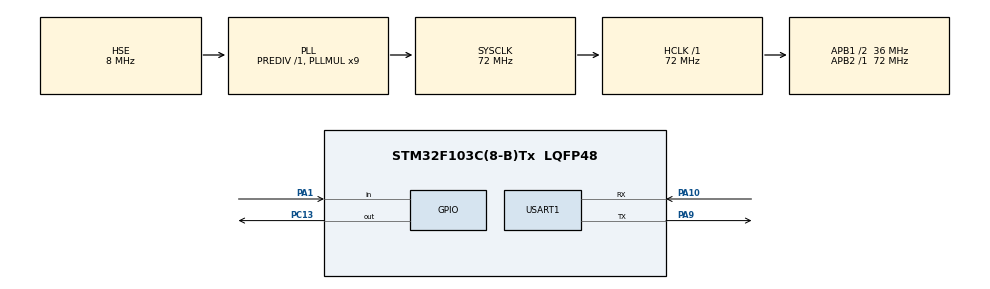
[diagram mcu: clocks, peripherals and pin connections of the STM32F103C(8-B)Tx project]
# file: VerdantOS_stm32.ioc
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FREERTOS.Queues01=DeviceControlCommandQueue,16,uint8_t,0,Dynamic,NULL,NULL
FREERTOS.Tasks01=defaultTask,24,128,StartDefaultTask,Default,NULL,Dynamic,NULL,NULL;DeviceControlTa,32,128,StartTask02,Default,NULL,Dynamic,NULL,NULL
Mcu.Family=STM32F1
Mcu.Name=STM32F103C(8-B)Tx
Mcu.Package=LQFP48
NVIC.PriorityGroup=NVIC_PRIORITYGROUP_4
NVIC.TIM1_UP_IRQn=true\:5\:0\:false\:false\:true\:true\:true\:true
NVIC.USART1_IRQn=true\:5\:0\:false\:false\:true\:true\:true\:true
PA1.Signal=GPIO_Input
PA10.Mode=Asynchronous
PA10.Signal=USART1_RX
PA13.Mode=Serial_Wire
PA13.Signal=SYS_JTMS-SWDIO
PA14.Mode=Serial_Wire
PA14.Signal=SYS_JTCK-SWCLK
PA9.Mode=Asynchronous
PA9.Signal=USART1_TX
PC13-TAMPER-RTC.Signal=GPIO_Output
PD0-OSC_IN.Mode=HSE-External-Oscillator
PD0-OSC_IN.Signal=RCC_OSC_IN
PD1-OSC_OUT.Mode=HSE-External-Oscillator
PD1-OSC_OUT.Signal=RCC_OSC_OUT
ProjectManager.HeapSize=0x200
ProjectManager.StackSize=0x400
ProjectManager.TargetToolchain=MDK-ARM V5.27
RCC.AHBFreq_Value=72000000
RCC.APB1CLKDivider=RCC_HCLK_DIV2
RCC.APB1Freq_Value=36000000
RCC.APB1TimFreq_Value=72000000
RCC.APB2Freq_Value=72000000
RCC.APB2TimFreq_Value=72000000
RCC.HCLKFreq_Value=72000000
RCC.PLLMUL=RCC_PLL_MUL9
RCC.PLLSourceVirtual=RCC_PLLSOURCE_HSE
RCC.SYSCLKFreq_VALUE=72000000
RCC.SYSCLKSource=RCC_SYSCLKSOURCE_PLLCLK
RCC.USBFreq_Value=72000000
TIM1.Period=7199
TIM1.Prescaler=9
USART1.VirtualMode=VM_ASYNC
VP_FREERTOS_VS_CMSIS_V2.Mode=CMSIS_V2
VP_TIM1_VS_ClockSourceINT.Mode=Internal
board=custom

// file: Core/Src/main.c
/* USER CODE BEGIN Header */
/**
  ******************************************************************************
  * @file           : main.c
  * @brief          : Main program body
  ******************************************************************************
  * @attention
  *
  * <h2><center>&copy; Copyright (c) 2025 STMicroelectronics.
  * All rights reserved.</center></h2>
  *
  * This software component is licensed by ST under BSD 3-Clause license,
  * the "License"; You may not use this file except in compliance with the
  * License. You may obtain a copy of the License at:
  *                        opensource.org/licenses/BSD-3-Clause
  *
  ******************************************************************************
  */
/* USER CODE END Header */
#include "main.h"
#include "cmsis_os.h"

/* USER CODE BEGIN Includes */
#include "user_task.h"
/* USER CODE END Includes */

TIM_HandleTypeDef htim1;

UART_HandleTypeDef huart1;

/* Definitions for defaultTask */
osThreadId_t defaultTaskHandle;
const osThreadAttr_t defaultTask_attributes = {
  .name = "defaultTask",
  .priority = (osPriority_t) osPriorityNormal,
  .stack_size = 128 * 4
};
/* Definitions for DeviceControlTa */
osThreadId_t DeviceControlTaHandle;
const osThreadAttr_t DeviceControlTa_attributes = {
  .name = "DeviceControlTa",
  .priority = (osPriority_t) osPriorityAboveNormal,
  .stack_size = 128 * 4
};
/* Definitions for DeviceControlCommandQueue */
osMessageQueueId_t DeviceControlCommandQueueHandle;
const osMessageQueueAttr_t DeviceControlCommandQueue_attributes = {
  .name = "DeviceControlCommandQueue"
};
/* USER CODE BEGIN PV */
	uint8_t rxData;

/* USER CODE END PV */

void SystemClock_Config(void);
static void MX_GPIO_Init(void);
static void MX_USART1_UART_Init(void);
static void MX_TIM1_Init(void);
void StartDefaultTask(void *argument);
void StartTask02(void *argument);

int main(void)
{

  /* MCU Configuration--------------------------------------------------------*/

  /* Reset of all peripherals, Initializes the Flash interface and the Systick. */
  HAL_Init();

  /* Configure the system clock */
  SystemClock_Config();

  /* Initialize all configured peripherals */
  MX_GPIO_Init();
  MX_USART1_UART_Init();
  MX_TIM1_Init();
  /* USER CODE BEGIN 2 */
	HAL_UART_Receive_IT(&huart1, &rxData, 1);
  /* USER CODE END 2 */

  /* Init scheduler */
  osKernelInitialize();

  /* Create the queue(s) */
  /* creation of DeviceControlCommandQueue */
  DeviceControlCommandQueueHandle = osMessageQueueNew (16, sizeof(uint8_t), &DeviceControlCommandQueue_attributes);

  /* Create the thread(s) */
  /* creation of defaultTask */
  defaultTaskHandle = osThreadNew(StartDefaultTask, NULL, &defaultTask_attributes);

  /* creation of DeviceControlTa */
  DeviceControlTaHandle = osThreadNew(StartTask02, NULL, &DeviceControlTa_attributes);

  /* Start scheduler */
  osKernelStart();

  /* We should never get here as control is now taken by the scheduler */
  /* Infinite loop */
  while (1)
  {

    /* USER CODE BEGIN 3 */
//      vTask();
  }
  /* USER CODE END 3 */
}

void SystemClock_Config(void)
{
  RCC_OscInitTypeDef RCC_OscInitStruct = {0};
  RCC_ClkInitTypeDef RCC_ClkInitStruct = {0};

  /** Initializes the RCC Oscillators according to the specified parameters
  * in the RCC_OscInitTypeDef structure.
  */
  RCC_OscInitStruct.OscillatorType = RCC_OSCILLATORTYPE_HSE;
  RCC_OscInitStruct.HSEState = RCC_HSE_ON;
  RCC_OscInitStruct.HSEPredivValue = RCC_HSE_PREDIV_DIV1;
  RCC_OscInitStruct.HSIState = RCC_HSI_ON;
  RCC_OscInitStruct.PLL.PLLState = RCC_PLL_ON;
  RCC_OscInitStruct.PLL.PLLSource = RCC_PLLSOURCE_HSE;
  RCC_OscInitStruct.PLL.PLLMUL = RCC_PLL_MUL9;
  if (HAL_RCC_OscConfig(&RCC_OscInitStruct) != HAL_OK)
  {
    Error_Handler();
  }
  /** Initializes the CPU, AHB and APB buses clocks
  */
  RCC_ClkInitStruct.ClockType = RCC_CLOCKTYPE_HCLK|RCC_CLOCKTYPE_SYSCLK
                              |RCC_CLOCKTYPE_PCLK1|RCC_CLOCKTYPE_PCLK2;
  RCC_ClkInitStruct.SYSCLKSource = RCC_SYSCLKSOURCE_PLLCLK;
  RCC_ClkInitStruct.AHBCLKDivider = RCC_SYSCLK_DIV1;
  RCC_ClkInitStruct.APB1CLKDivider = RCC_HCLK_DIV2;
  RCC_ClkInitStruct.APB2CLKDivider = RCC_HCLK_DIV1;

  if (HAL_RCC_ClockConfig(&RCC_ClkInitStruct, FLASH_LATENCY_2) != HAL_OK)
  {
    Error_Handler();
  }
}

static void MX_TIM1_Init(void)
{

  TIM_ClockConfigTypeDef sClockSourceConfig = {0};
  TIM_MasterConfigTypeDef sMasterConfig = {0};

  htim1.Instance = TIM1;
  htim1.Init.Prescaler = 9;
  htim1.Init.CounterMode = TIM_COUNTERMODE_UP;
  htim1.Init.Period = 7199;
  htim1.Init.ClockDivision = TIM_CLOCKDIVISION_DIV1;
  htim1.Init.RepetitionCounter = 0;
  htim1.Init.AutoReloadPreload = TIM_AUTORELOAD_PRELOAD_DISABLE;
  if (HAL_TIM_Base_Init(&htim1) != HAL_OK)
  {
    Error_Handler();
  }
  sClockSourceConfig.ClockSource = TIM_CLOCKSOURCE_INTERNAL;
  if (HAL_TIM_ConfigClockSource(&htim1, &sClockSourceConfig) != HAL_OK)
  {
    Error_Handler();
  }
  sMasterConfig.MasterOutputTrigger = TIM_TRGO_RESET;
  sMasterConfig.MasterSlaveMode = TIM_MASTERSLAVEMODE_DISABLE;
  if (HAL_TIMEx_MasterConfigSynchronization(&htim1, &sMasterConfig) != HAL_OK)
  {
    Error_Handler();
  }
  /* USER CODE BEGIN TIM1_Init 2 */
  __HAL_TIM_ENABLE_IT(&htim1, TIM_IT_UPDATE);
HAL_TIM_Base_Start(&htim1);
  /* USER CODE END TIM1_Init 2 */

}

static void MX_USART1_UART_Init(void)
{

  huart1.Instance = USART1;
  huart1.Init.BaudRate = 115200;
  huart1.Init.WordLength = UART_WORDLENGTH_8B;
  huart1.Init.StopBits = UART_STOPBITS_1;
  huart1.Init.Parity = UART_PARITY_NONE;
  huart1.Init.Mode = UART_MODE_TX_RX;
  huart1.Init.HwFlowCtl = UART_HWCONTROL_NONE;
  huart1.Init.OverSampling = UART_OVERSAMPLING_16;
  if (HAL_UART_Init(&huart1) != HAL_OK)
  {
    Error_Handler();
  }

}

static void MX_GPIO_Init(void)
{
  GPIO_InitTypeDef GPIO_InitStruct = {0};

  /* GPIO Ports Clock Enable */
  __HAL_RCC_GPIOC_CLK_ENABLE();
  __HAL_RCC_GPIOD_CLK_ENABLE();
  __HAL_RCC_GPIOA_CLK_ENABLE();

  /*Configure GPIO pin Output Level */
  HAL_GPIO_WritePin(GPIOC, GPIO_PIN_13, GPIO_PIN_RESET);

  /*Configure GPIO pin : PC13 */
  GPIO_InitStruct.Pin = GPIO_PIN_13;
  GPIO_InitStruct.Mode = GPIO_MODE_OUTPUT_PP;
  GPIO_InitStruct.Pull = GPIO_NOPULL;
  GPIO_InitStruct.Speed = GPIO_SPEED_FREQ_LOW;
  HAL_GPIO_Init(GPIOC, &GPIO_InitStruct);

  /*Configure GPIO pin : PA1 */
  GPIO_InitStruct.Pin = GPIO_PIN_1;
  GPIO_InitStruct.Mode = GPIO_MODE_INPUT;
  GPIO_InitStruct.Pull = GPIO_NOPULL;
  HAL_GPIO_Init(GPIOA, &GPIO_InitStruct);

}

/* USER CODE BEGIN 4 */
void HAL_UART_RxCpltCallback(UART_HandleTypeDef *huart)
{
    if (huart->Instance == USART1)
    {

        osMessageQueuePut(
            DeviceControlCommandQueueHandle,
            &rxData,
            0,
            0
        );
        HAL_UART_Receive_IT(&huart1, &rxData, 1);
    }

}
/* USER CODE END 4 */

void StartDefaultTask(void *argument)
{
  for(;;)
  {
    osDelay(1);
  }
}

void StartTask02(void *argument)
{
  /* USER CODE BEGIN StartTask02 */
  /* Infinite loop */
	 uint8_t receiveData = 0x00;

    for(;;)
    {
        osMessageQueueGet(
            DeviceControlCommandQueueHandle,
            &receiveData,
            NULL,
            osWaitForever
        );

        if (receiveData == 0x01)
        {
            HAL_GPIO_WritePin(GPIOC, GPIO_PIN_13, GPIO_PIN_RESET);
        }
        else if (receiveData == 0x02)
        {
            HAL_GPIO_WritePin(GPIOC, GPIO_PIN_13, GPIO_PIN_SET);
        }
    }

  /* USER CODE END StartTask02 */
}

void Error_Handler(void)
{
  __disable_irq();
  while (1)
  {
  }
}

/************************ (C) COPYRIGHT STMicroelectronics *****END OF FILE****/
